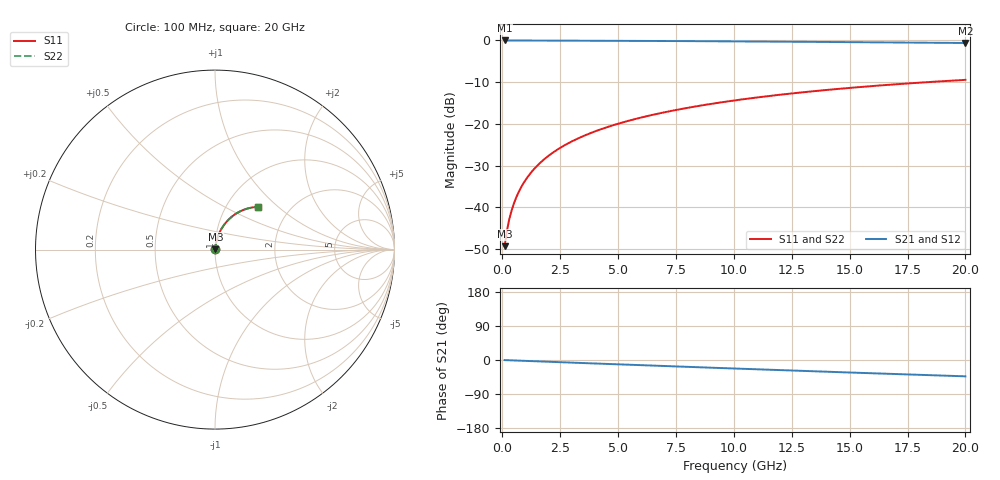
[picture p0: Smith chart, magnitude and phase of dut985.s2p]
! Touchstone file exported from HFSS 2026.1.0
!  File:  C:/ffzhzh/LocalFiles/Ansys_Project_Files/temp_train_BSMRDL_985_1783172833_43440.aedt
!  Generated:  09:48:26 PM Jul  4, 2026
!  Design:  BSMRDL
!  Project:  temp_train_BSMRDL_985_1783172833_43440
! Variables:
!  h_bsmrdl = 4.7um
!  h_ox = 20um
!  h_rdl = 5um
!  h_sub = 80um
!  h_tmrdl = 5um
!  h_tsv = 80um
!  h_via = 3um
!  l_bsmrdl = 672.93um
!  l_sub = 1072.93um
!  l_tmrdl = 200um
!  m_sub = 200um
!  pitch = 42.7um
!  r_tsv = 6um
!  s_tmrdl = 10um
!  w_bsmrdl = 21.7um
!  w_sub = 500um
!  w_tmrdl = 12um
!  x_tsv_center1 = 206um
!  x_tsv_center2 = 900.63um
!  x_tsv_center3 = 1112.63um
!  x_tsv_center4 = 1807.26um
!  x_tsv_center5 = 2019.26um
!  x_tsv_center6 = 2713.89um
# GHz S MA R 50.000000
! Terminal data exported
! Port[1] = BSM_RDL1_1_T1
! Port[2] = BSM_RDL1_1_T2
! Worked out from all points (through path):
!   200 points, 100 MHz to 20 GHz, reference 50 ohm
!   highest |S21| = -0.02 dB at 100 MHz (marker M1); lowest = -0.6 dB at 20 GHz (marker M2)
!   group delay of S21, straight-line fit = 5.98 ps
!   lowest |S11| = -49.3 dB at 100 MHz (marker M3), VSWR 1.01, Z = 50.3 + j0.231 ohm
!   |S11| at or under -10 dB: start of sweep to 18.39 GHz
!   |S22| runs from -49.3 to -9.5 dB; largest |S21 - S12| = 4.5e-15
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0.1  0.003418 42.3  0.9975 -0.2  0.9975 -0.2  0.003418 42.3
! Gamma 0 0 0 0
! Port Impedance 50 0 50 0
0.2  0.005234 58.5  0.9973 -0.5  0.9973 -0.5  0.005234 58.5
0.3  0.007154 65.9  0.9971 -0.7  0.9971 -0.7  0.007154 65.9
0.4  0.0091 70.2  0.997 -0.9  0.997 -0.9  0.0091 70.2
0.5  0.01107 73.0  0.9969 -1.2  0.9969 -1.2  0.01107 73.0
0.6  0.01306 75.0  0.9968 -1.4  0.9968 -1.4  0.01306 75.0
0.8  0.01708 77.4  0.9967 -1.9  0.9967 -1.9  0.01708 77.4
1.1  0.02317 79.2  0.9964 -2.6  0.9964 -2.6  0.02317 79.2
1.5  0.03131 80.0  0.996 -3.5  0.996 -3.5  0.03131 80.0
1.8  0.0374 80.1  0.9956 -4.2  0.9956 -4.2  0.0374 80.1
2.1  0.04347 80.0  0.9951 -4.9  0.9951 -4.9  0.04347 80.0
2.7  0.05551 79.2  0.9941 -6.3  0.9941 -6.3  0.05551 79.2
3.5  0.07132 77.9  0.9925 -8.1  0.9925 -8.1  0.07133 77.9
4.2  0.08494 76.6  0.9908 -9.7  0.9908 -9.7  0.08494 76.6
5  0.1002 75.0  0.9888 -11.5  0.9888 -11.5  0.1002 75.0
5.9  0.1171 73.2  0.9863 -13.5  0.9863 -13.5  0.1171 73.2
6.8  0.1337 71.4  0.9836 -15.5  0.9836 -15.5  0.1337 71.4
8.3  0.1607 68.3  0.9787 -18.8  0.9787 -18.8  0.1607 68.3
10.1  0.1918 64.6  0.9723 -22.7  0.9723 -22.7  0.1918 64.6
13.4  0.2453 58.0  0.9592 -29.7  0.9592 -29.7  0.2453 57.9
16.7  0.2936 51.4  0.9449 -36.5  0.9449 -36.5  0.2936 51.4
20  0.3363 45.0  0.9301 -43.1  0.9301 -43.1  0.3363 45.0
